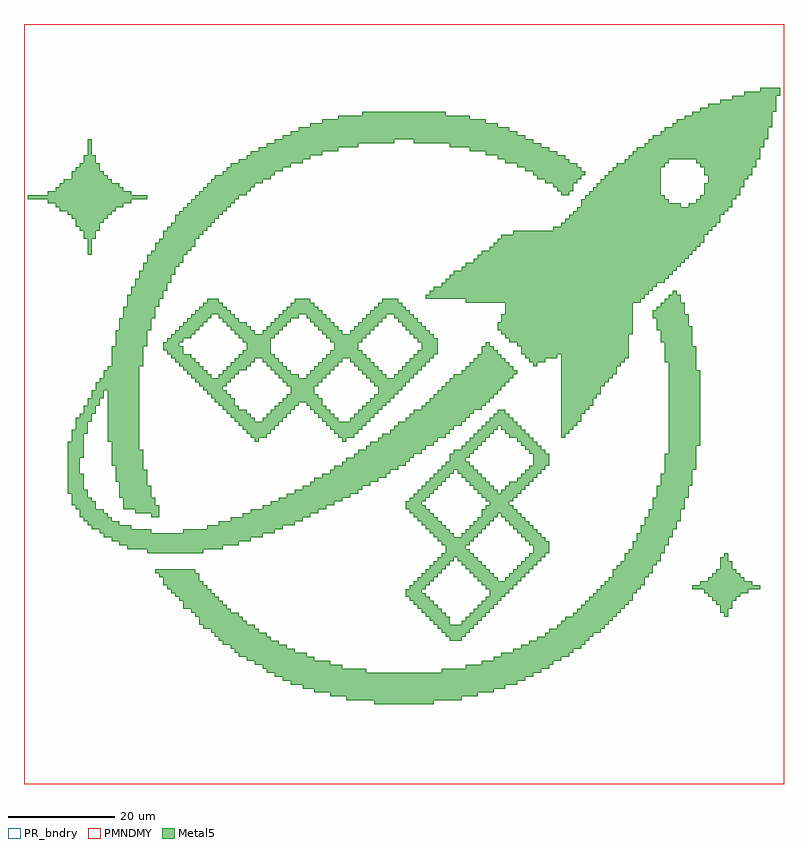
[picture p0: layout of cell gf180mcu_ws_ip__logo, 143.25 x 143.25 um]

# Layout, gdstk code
import gdstk
lib = gdstk.Library(unit=1e-6, precision=1e-09)
def R(c, l, rs):  # rectangles x0, y0, x1, y1
    for r in rs: c.add(gdstk.rectangle(r[:2], r[2:], *l))
def P(c, l, *ps):  # polygons
    for p in ps: c.add(gdstk.Polygon(p, *l))
PR_bndry = (0, 0)
Metal5 = (81, 0)
PMNDMY = (152, 5)

gf180mcu_ws_ip__logo = lib.new_cell('gf180mcu_ws_ip__logo')
R(gf180mcu_ws_ip__logo, PR_bndry, [(0,0,143.25,143.25)])
P(gf180mcu_ws_ip__logo, Metal5, [(132,31.5),(132,32.25),(131.25,32.25),(131.25,33.75),(130.5,33.75),(130.5,34.5),(129.75,34.5),(129.75,35.25),(129,35.25),(129,36),(128.25,36),(128.25,36.75),(126,36.75),(126,37.5),(127.5,37.5),(127.5,38.25),(129,38.25),(129,39),(129.75,39),(129.75,39.75),(130.5,39.75),(130.5,40.5),(131.25,40.5),(131.25,42.75),(132,42.75),(132,43.5),(132.75,43.5),(132.75,42),(133.5,42),(133.5,40.5),(134.25,40.5),(134.25,39.75),(135,39.75),(135,39),(135.75,39),(135.75,38.25),(137.25,38.25),(137.25,37.5),(138.75,37.5),(138.75,36.75),(136.5,36.75),(136.5,36),(135,36),(135,35.25),(134.25,35.25),(134.25,34.5),(133.5,34.5),(133.5,33),(132.75,33),(132.75,31.5)],
  [(80.25,27),(80.25,27.75),(79.5,27.75),(79.5,28.5),(78.75,28.5),(78.75,29.25),(78,29.25),(78,30),(77.25,30),(77.25,30.75),(76.5,30.75),(76.5,31.5),(75.75,31.5),(75.75,32.25),(75,32.25),(75,33),(74.25,33),(74.25,33.75),(73.5,33.75),(73.5,34.5),(72.75,34.5),(72.75,35.25),(72,35.25),(72,36.75),(72.75,36.75),(72.75,37.5),(73.5,37.5),(73.5,38.25),(74.25,38.25),(74.25,39),(75,39),(75,39.75),(75.75,39.75),(75.75,40.5),(76.5,40.5),(76.5,41.25),(77.25,41.25),(77.25,42),(78,42),(78,42.75),(81,42.75),(81,42),(80.25,42),(80.25,41.25),(79.5,41.25),(79.5,40.5),(78.75,40.5),(78.75,39.75),(78,39.75),(78,39),(77.25,39),(77.25,38.25),(76.5,38.25),(76.5,37.5),(75.75,37.5),(75.75,36.75),(75,36.75),(75,36),(75.75,36),(75.75,35.25),(76.5,35.25),(76.5,34.5),(77.25,34.5),(77.25,33.75),(78,33.75),(78,33),(78.75,33),(78.75,32.25),(79.5,32.25),(79.5,31.5),(80.25,31.5),(80.25,30),(82.5,30),(82.5,30.75),(83.25,30.75),(83.25,31.5),(84,31.5),(84,32.25),(84.75,32.25),(84.75,33),(85.5,33),(85.5,33.75),(86.25,33.75),(86.25,34.5),(87,34.5),(87,35.25),(87.75,35.25),(87.75,36.75),(87,36.75),(87,37.5),(86.25,37.5),(86.25,38.25),(85.5,38.25),(85.5,39),(84.75,39),(84.75,39.75),(84,39.75),(84,40.5),(83.25,40.5),(83.25,41.25),(82.5,41.25),(82.5,42),(81.75,42),(81.75,42.75),(78.75,42.75),(78.75,43.5),(79.5,43.5),(79.5,45),(78.75,45),(78.75,45.75),(78,45.75),(78,46.5),(77.25,46.5),(77.25,47.25),(76.5,47.25),(76.5,48),(75.75,48),(75.75,48.75),(75,48.75),(75,49.5),(74.25,49.5),(74.25,50.25),(73.5,50.25),(73.5,51),(72.75,51),(72.75,51.75),(72,51.75),(72,53.25),(72.75,53.25),(72.75,54),(73.5,54),(73.5,54.75),(74.25,54.75),(74.25,55.5),(75,55.5),(75,56.25),(75.75,56.25),(75.75,57),(76.5,57),(76.5,57.75),(77.25,57.75),(77.25,58.5),(78,58.5),(78,59.25),(81,59.25),(81,58.5),(80.25,58.5),(80.25,57.75),(79.5,57.75),(79.5,57),(78.75,57),(78.75,56.25),(78,56.25),(78,55.5),(77.25,55.5),(77.25,54.75),(76.5,54.75),(76.5,54),(75.75,54),(75.75,53.25),(75,53.25),(75,52.5),(75.75,52.5),(75.75,51.75),(76.5,51.75),(76.5,51),(77.25,51),(77.25,50.25),(78,50.25),(78,49.5),(78.75,49.5),(78.75,48.75),(79.5,48.75),(79.5,48),(80.25,48),(80.25,47.25),(81,47.25),(81,46.5),(82.5,46.5),(82.5,47.25),(83.25,47.25),(83.25,48),(84,48),(84,48.75),(84.75,48.75),(84.75,49.5),(85.5,49.5),(85.5,50.25),(86.25,50.25),(86.25,51),(89.25,51),(89.25,50.25),(88.5,50.25),(88.5,49.5),(87.75,49.5),(87.75,48.75),(87,48.75),(87,48),(86.25,48),(86.25,47.25),(85.5,47.25),(85.5,46.5),(84.75,46.5),(84.75,45.75),(84,45.75),(84,45),(83.25,45),(83.25,44.25),(84,44.25),(84,43.5),(84.75,43.5),(84.75,42.75),(85.5,42.75),(85.5,42),(86.25,42),(86.25,41.25),(87,41.25),(87,40.5),(87.75,40.5),(87.75,39.75),(88.5,39.75),(88.5,39),(89.25,39),(89.25,38.25),(90.75,38.25),(90.75,39),(91.5,39),(91.5,39.75),(92.25,39.75),(92.25,40.5),(93,40.5),(93,41.25),(93.75,41.25),(93.75,42),(94.5,42),(94.5,42.75),(95.25,42.75),(95.25,43.5),(96,43.5),(96,45),(95.25,45),(95.25,45.75),(94.5,45.75),(94.5,46.5),(93.75,46.5),(93.75,47.25),(93,47.25),(93,48),(92.25,48),(92.25,48.75),(91.5,48.75),(91.5,49.5),(90.75,49.5),(90.75,50.25),(90,50.25),(90,51),(86.25,51),(86.25,51.75),(87,51.75),(87,52.5),(87.75,52.5),(87.75,53.25),(87,53.25),(87,54),(86.25,54),(86.25,54.75),(85.5,54.75),(85.5,55.5),(84.75,55.5),(84.75,56.25),(84,56.25),(84,57),(83.25,57),(83.25,57.75),(82.5,57.75),(82.5,58.5),(81.75,58.5),(81.75,59.25),(78.75,59.25),(78.75,60),(79.5,60),(79.5,60.75),(80.25,60.75),(80.25,62.25),(81,62.25),(81,63),(82.5,63),(82.5,63.75),(83.25,63.75),(83.25,64.5),(84,64.5),(84,65.25),(84.75,65.25),(84.75,66),(85.5,66),(85.5,66.75),(86.25,66.75),(86.25,67.5),(89.25,67.5),(89.25,66.75),(88.5,66.75),(88.5,66),(87.75,66),(87.75,65.25),(87,65.25),(87,64.5),(86.25,64.5),(86.25,63.75),(85.5,63.75),(85.5,63),(84.75,63),(84.75,62.25),(84,62.25),(84,61.5),(83.25,61.5),(83.25,60.75),(84,60.75),(84,60),(84.75,60),(84.75,59.25),(85.5,59.25),(85.5,58.5),(86.25,58.5),(86.25,57.75),(87,57.75),(87,57),(87.75,57),(87.75,56.25),(88.5,56.25),(88.5,55.5),(89.25,55.5),(89.25,54.75),(90,54.75),(90,55.5),(90.75,55.5),(90.75,56.25),(91.5,56.25),(91.5,57),(93,57),(93,57.75),(93.75,57.75),(93.75,58.5),(94.5,58.5),(94.5,59.25),(95.25,59.25),(95.25,60),(96,60),(96,62.25),(95.25,62.25),(95.25,63),(94.5,63),(94.5,63.75),(93.75,63.75),(93.75,64.5),(93,64.5),(93,65.25),(91.5,65.25),(91.5,66),(90.75,66),(90.75,66.75),(90,66.75),(90,67.5),(87,67.5),(87,68.25),(87.75,68.25),(87.75,69),(88.5,69),(88.5,69.75),(89.25,69.75),(89.25,70.5),(90.75,70.5),(90.75,69.75),(91.5,69.75),(91.5,69),(92.25,69),(92.25,68.25),(93,68.25),(93,67.5),(93.75,67.5),(93.75,66.75),(94.5,66.75),(94.5,66),(95.25,66),(95.25,65.25),(96,65.25),(96,64.5),(96.75,64.5),(96.75,63.75),(97.5,63.75),(97.5,63),(98.25,63),(98.25,62.25),(99,62.25),(99,60),(98.25,60),(98.25,59.25),(97.5,59.25),(97.5,58.5),(96.75,58.5),(96.75,57.75),(96,57.75),(96,57),(95.25,57),(95.25,56.25),(94.5,56.25),(94.5,55.5),(93.75,55.5),(93.75,54.75),(93,54.75),(93,54),(92.25,54),(92.25,53.25),(91.5,53.25),(91.5,52.5),(92.25,52.5),(92.25,51.75),(93,51.75),(93,51),(93.75,51),(93.75,50.25),(94.5,50.25),(94.5,49.5),(95.25,49.5),(95.25,48.75),(96,48.75),(96,48),(96.75,48),(96.75,47.25),(97.5,47.25),(97.5,46.5),(98.25,46.5),(98.25,45.75),(99,45.75),(99,43.5),(98.25,43.5),(98.25,42.75),(97.5,42.75),(97.5,42),(96.75,42),(96.75,41.25),(96,41.25),(96,40.5),(95.25,40.5),(95.25,39.75),(94.5,39.75),(94.5,39),(93.75,39),(93.75,38.25),(93,38.25),(93,37.5),(92.25,37.5),(92.25,36.75),(91.5,36.75),(91.5,36),(90.75,36),(90.75,35.25),(90,35.25),(90,34.5),(89.25,34.5),(89.25,33.75),(88.5,33.75),(88.5,33),(87.75,33),(87.75,32.25),(87,32.25),(87,31.5),(86.25,31.5),(86.25,30.75),(85.5,30.75),(85.5,30),(84.75,30),(84.75,29.25),(84,29.25),(84,28.5),(83.25,28.5),(83.25,27.75),(82.5,27.75),(82.5,27)],
  [(43.5,64.5),(43.5,65.25),(42.75,65.25),(42.75,66),(42,66),(42,66.75),(41.25,66.75),(41.25,67.5),(40.5,67.5),(40.5,68.25),(39.75,68.25),(39.75,69),(39,69),(39,69.75),(38.25,69.75),(38.25,70.5),(37.5,70.5),(37.5,71.25),(36.75,71.25),(36.75,72),(36,72),(36,72.75),(35.25,72.75),(35.25,73.5),(34.5,73.5),(34.5,74.25),(33.75,74.25),(33.75,75),(33,75),(33,75.75),(32.25,75.75),(32.25,76.5),(31.5,76.5),(31.5,77.25),(30.75,77.25),(30.75,78),(30,78),(30,78.75),(29.25,78.75),(29.25,79.5),(28.5,79.5),(28.5,80.25),(27.75,80.25),(27.75,81),(27,81),(27,81.75),(26.25,81.75),(26.25,83.25),(27,83.25),(27,84),(27.75,84),(27.75,84.75),(28.5,84.75),(28.5,85.5),(29.25,85.5),(29.25,86.25),(30,86.25),(30,87),(30.75,87),(30.75,87.75),(31.5,87.75),(31.5,88.5),(35.25,88.5),(35.25,87.75),(34.5,87.75),(34.5,87),(33.75,87),(33.75,86.25),(33,86.25),(33,85.5),(32.25,85.5),(32.25,84.75),(31.5,84.75),(31.5,84),(30,84),(30,83.25),(29.25,83.25),(29.25,82.5),(30,82.5),(30,81),(31.5,81),(31.5,80.25),(32.25,80.25),(32.25,79.5),(33,79.5),(33,78.75),(33.75,78.75),(33.75,78),(34.5,78),(34.5,77.25),(35.25,77.25),(35.25,76.5),(36.75,76.5),(36.75,77.25),(37.5,77.25),(37.5,78),(38.25,78),(38.25,78.75),(39,78.75),(39,79.5),(39.75,79.5),(39.75,80.25),(43.5,80.25),(43.5,79.5),(42.75,79.5),(42.75,78.75),(42,78.75),(42,78),(40.5,78),(40.5,77.25),(39.75,77.25),(39.75,76.5),(39,76.5),(39,75.75),(38.25,75.75),(38.25,75),(37.5,75),(37.5,74.25),(38.25,74.25),(38.25,73.5),(39,73.5),(39,72.75),(39.75,72.75),(39.75,71.25),(40.5,71.25),(40.5,70.5),(42,70.5),(42,69.75),(42.75,69.75),(42.75,69),(43.5,69),(43.5,68.25),(45,68.25),(45,69),(45.75,69),(45.75,69.75),(46.5,69.75),(46.5,70.5),(47.25,70.5),(47.25,71.25),(48,71.25),(48,72),(48.75,72),(48.75,72.75),(49.5,72.75),(49.5,73.5),(50.25,73.5),(50.25,75),(49.5,75),(49.5,75.75),(48.75,75.75),(48.75,76.5),(48,76.5),(48,77.25),(47.25,77.25),(47.25,78),(46.5,78),(46.5,78.75),(45.75,78.75),(45.75,79.5),(45,79.5),(45,80.25),(40.5,80.25),(40.5,81),(41.25,81),(41.25,81.75),(42,81.75),(42,83.25),(41.25,83.25),(41.25,84),(40.5,84),(40.5,84.75),(39.75,84.75),(39.75,85.5),(39,85.5),(39,86.25),(38.25,86.25),(38.25,87),(37.5,87),(37.5,87.75),(36.75,87.75),(36.75,88.5),(32.25,88.5),(32.25,89.25),(33,89.25),(33,90),(33.75,90),(33.75,90.75),(34.5,90.75),(34.5,91.5),(36.75,91.5),(36.75,90.75),(37.5,90.75),(37.5,90),(38.25,90),(38.25,89.25),(39,89.25),(39,88.5),(39.75,88.5),(39.75,87.75),(40.5,87.75),(40.5,87),(42,87),(42,86.25),(42.75,86.25),(42.75,85.5),(43.5,85.5),(43.5,84.75),(45,84.75),(45,85.5),(45.75,85.5),(45.75,86.25),(46.5,86.25),(46.5,87),(47.25,87),(47.25,87.75),(48,87.75),(48,88.5),(51.75,88.5),(51.75,87.75),(50.25,87.75),(50.25,87),(49.5,87),(49.5,86.25),(48.75,86.25),(48.75,85.5),(48,85.5),(48,84.75),(47.25,84.75),(47.25,84),(46.5,84),(46.5,81),(47.25,81),(47.25,80.25),(48,80.25),(48,79.5),(48.75,79.5),(48.75,78.75),(49.5,78.75),(49.5,78),(50.25,78),(50.25,77.25),(51.75,77.25),(51.75,76.5),(53.25,76.5),(53.25,77.25),(54,77.25),(54,78),(54.75,78),(54.75,78.75),(55.5,78.75),(55.5,79.5),(56.25,79.5),(56.25,80.25),(60,80.25),(60,79.5),(59.25,79.5),(59.25,78.75),(58.5,78.75),(58.5,78),(57.75,78),(57.75,77.25),(57,77.25),(57,76.5),(56.25,76.5),(56.25,75.75),(55.5,75.75),(55.5,75),(54.75,75),(54.75,73.5),(55.5,73.5),(55.5,72.75),(56.25,72.75),(56.25,71.25),(57,71.25),(57,70.5),(57.75,70.5),(57.75,69.75),(58.5,69.75),(58.5,69),(59.25,69),(59.25,68.25),(61.5,68.25),(61.5,69),(62.25,69),(62.25,69.75),(63,69.75),(63,70.5),(63.75,70.5),(63.75,71.25),(64.5,71.25),(64.5,72),(65.25,72),(65.25,72.75),(66,72.75),(66,73.5),(66.75,73.5),(66.75,75),(66,75),(66,75.75),(65.25,75.75),(65.25,76.5),(64.5,76.5),(64.5,77.25),(63.75,77.25),(63.75,78),(63,78),(63,78.75),(62.25,78.75),(62.25,79.5),(61.5,79.5),(61.5,80.25),(57,80.25),(57,81),(57.75,81),(57.75,81.75),(58.5,81.75),(58.5,83.25),(57.75,83.25),(57.75,84),(57,84),(57,84.75),(56.25,84.75),(56.25,85.5),(55.5,85.5),(55.5,86.25),(54.75,86.25),(54.75,87),(54,87),(54,87.75),(53.25,87.75),(53.25,88.5),(48.75,88.5),(48.75,89.25),(49.5,89.25),(49.5,90),(50.25,90),(50.25,90.75),(51,90.75),(51,91.5),(54,91.5),(54,90.75),(54.75,90.75),(54.75,90),(55.5,90),(55.5,89.25),(56.25,89.25),(56.25,88.5),(57,88.5),(57,87.75),(57.75,87.75),(57.75,87),(58.5,87),(58.5,86.25),(59.25,86.25),(59.25,85.5),(60,85.5),(60,84.75),(61.5,84.75),(61.5,85.5),(62.25,85.5),(62.25,86.25),(63,86.25),(63,87),(63.75,87),(63.75,87.75),(64.5,87.75),(64.5,88.5),(68.25,88.5),(68.25,87.75),(67.5,87.75),(67.5,87),(66.75,87),(66.75,86.25),(66,86.25),(66,85.5),(65.25,85.5),(65.25,84.75),(64.5,84.75),(64.5,84),(63.75,84),(63.75,83.25),(63,83.25),(63,81.75),(63.75,81.75),(63.75,81),(64.5,81),(64.5,80.25),(65.25,80.25),(65.25,79.5),(66,79.5),(66,78.75),(66.75,78.75),(66.75,78),(67.5,78),(67.5,77.25),(68.25,77.25),(68.25,76.5),(69.75,76.5),(69.75,77.25),(70.5,77.25),(70.5,78),(71.25,78),(71.25,78.75),(72,78.75),(72,79.5),(72.75,79.5),(72.75,80.25),(73.5,80.25),(73.5,81),(74.25,81),(74.25,81.75),(75,81.75),(75,83.25),(74.25,83.25),(74.25,84),(73.5,84),(73.5,84.75),(72.75,84.75),(72.75,85.5),(72,85.5),(72,86.25),(71.25,86.25),(71.25,87),(70.5,87),(70.5,87.75),(69.75,87.75),(69.75,88.5),(65.25,88.5),(65.25,89.25),(66,89.25),(66,90),(66.75,90),(66.75,90.75),(67.5,90.75),(67.5,91.5),(70.5,91.5),(70.5,90.75),(71.25,90.75),(71.25,90),(72,90),(72,89.25),(72.75,89.25),(72.75,88.5),(73.5,88.5),(73.5,87.75),(74.25,87.75),(74.25,87),(75,87),(75,86.25),(75.75,86.25),(75.75,85.5),(76.5,85.5),(76.5,84.75),(77.25,84.75),(77.25,84),(78,84),(78,81),(77.25,81),(77.25,80.25),(76.5,80.25),(76.5,79.5),(75.75,79.5),(75.75,78.75),(75,78.75),(75,78),(74.25,78),(74.25,77.25),(73.5,77.25),(73.5,76.5),(72.75,76.5),(72.75,75.75),(72,75.75),(72,75),(71.25,75),(71.25,74.25),(70.5,74.25),(70.5,73.5),(69.75,73.5),(69.75,72.75),(69,72.75),(69,72),(68.25,72),(68.25,71.25),(67.5,71.25),(67.5,70.5),(66.75,70.5),(66.75,69.75),(66,69.75),(66,69),(65.25,69),(65.25,68.25),(64.5,68.25),(64.5,67.5),(63.75,67.5),(63.75,66.75),(63,66.75),(63,66),(62.25,66),(62.25,65.25),(60.75,65.25),(60.75,64.5),(60,64.5),(60,65.25),(59.25,65.25),(59.25,66),(58.5,66),(58.5,66.75),(57.75,66.75),(57.75,67.5),(57,67.5),(57,68.25),(56.25,68.25),(56.25,69),(55.5,69),(55.5,69.75),(54.75,69.75),(54.75,70.5),(54,70.5),(54,71.25),(53.25,71.25),(53.25,72),(51.75,72),(51.75,71.25),(51,71.25),(51,70.5),(50.25,70.5),(50.25,69.75),(49.5,69.75),(49.5,69),(48.75,69),(48.75,68.25),(48,68.25),(48,67.5),(47.25,67.5),(47.25,66.75),(46.5,66.75),(46.5,66),(45.75,66),(45.75,65.25),(44.25,65.25),(44.25,64.5)],
  [(66,15),(66,15.75),(60.75,15.75),(60.75,16.5),(57.75,16.5),(57.75,17.25),(54.75,17.25),(54.75,18),(52.5,18),(52.5,18.75),(50.25,18.75),(50.25,19.5),(48.75,19.5),(48.75,20.25),(47.25,20.25),(47.25,21),(45.75,21),(45.75,21.75),(45,21.75),(45,22.5),(43.5,22.5),(43.5,23.25),(42,23.25),(42,24),(40.5,24),(40.5,24.75),(39.75,24.75),(39.75,25.5),(39,25.5),(39,26.25),(37.5,26.25),(37.5,27),(36.75,27),(36.75,27.75),(36,27.75),(36,28.5),(35.25,28.5),(35.25,29.25),(33.75,29.25),(33.75,30),(33,30),(33,31.5),(32.25,31.5),(32.25,32.25),(31.5,32.25),(31.5,33),(30,33),(30,34.5),(29.25,34.5),(29.25,35.25),(28.5,35.25),(28.5,36),(27.75,36),(27.75,36.75),(27,36.75),(27,37.5),(26.25,37.5),(26.25,39),(25.5,39),(25.5,39.75),(24.75,39.75),(24.75,40.5),(32.25,40.5),(32.25,39.75),(33,39.75),(33,38.25),(33.75,38.25),(33.75,37.5),(34.5,37.5),(34.5,36.75),(35.25,36.75),(35.25,36),(36,36),(36,35.25),(36.75,35.25),(36.75,34.5),(37.5,34.5),(37.5,33.75),(38.25,33.75),(38.25,33),(39,33),(39,32.25),(40.5,32.25),(40.5,31.5),(41.25,31.5),(41.25,30.75),(42,30.75),(42,30),(43.5,30),(43.5,29.25),(44.25,29.25),(44.25,28.5),(45.75,28.5),(45.75,27.75),(46.5,27.75),(46.5,27),(48,27),(48,26.25),(49.5,26.25),(49.5,25.5),(51,25.5),(51,24.75),(53.25,24.75),(53.25,24),(54.75,24),(54.75,23.25),(57.75,23.25),(57.75,22.5),(60,22.5),(60,21.75),(64.5,21.75),(64.5,21),(78.75,21),(78.75,21.75),(83.25,21.75),(83.25,22.5),(86.25,22.5),(86.25,23.25),(88.5,23.25),(88.5,24),(90,24),(90,24.75),(92.25,24.75),(92.25,25.5),(93.75,25.5),(93.75,26.25),(95.25,26.25),(95.25,27),(96.75,27),(96.75,27.75),(98.25,27.75),(98.25,28.5),(99,28.5),(99,29.25),(100.5,29.25),(100.5,30),(101.25,30),(101.25,30.75),(102,30.75),(102,31.5),(103.5,31.5),(103.5,32.25),(104.25,32.25),(104.25,33),(105,33),(105,33.75),(105.75,33.75),(105.75,34.5),(106.5,34.5),(106.5,35.25),(107.25,35.25),(107.25,36),(108,36),(108,36.75),(108.75,36.75),(108.75,37.5),(109.5,37.5),(109.5,38.25),(110.25,38.25),(110.25,39),(111,39),(111,40.5),(111.75,40.5),(111.75,41.25),(112.5,41.25),(112.5,42),(113.25,42),(113.25,43.5),(114,43.5),(114,44.25),(114.75,44.25),(114.75,45.75),(115.5,45.75),(115.5,47.25),(116.25,47.25),(116.25,48.75),(117,48.75),(117,50.25),(117.75,50.25),(117.75,51.75),(118.5,51.75),(118.5,54),(119.25,54),(119.25,56.25),(120,56.25),(120,58.5),(120.75,58.5),(120.75,62.25),(121.5,62.25),(121.5,79.5),(120.75,79.5),(120.75,83.25),(120,83.25),(120,85.5),(119.25,85.5),(119.25,87.75),(118.5,87.75),(118.5,89.25),(119.25,89.25),(119.25,90),(120,90),(120,90.75),(120.75,90.75),(120.75,91.5),(121.5,91.5),(121.5,92.25),(122.25,92.25),(122.25,93),(123,93),(123,92.25),(123.75,92.25),(123.75,90.75),(124.5,90.75),(124.5,88.5),(125.25,88.5),(125.25,86.25),(126,86.25),(126,82.5),(126.75,82.5),(126.75,78),(127.5,78),(127.5,63.75),(126.75,63.75),(126.75,59.25),(126,59.25),(126,56.25),(125.25,56.25),(125.25,54),(124.5,54),(124.5,51.75),(123.75,51.75),(123.75,49.5),(123,49.5),(123,48),(122.25,48),(122.25,46.5),(121.5,46.5),(121.5,45),(120.75,45),(120.75,43.5),(120,43.5),(120,42),(119.25,42),(119.25,41.25),(118.5,41.25),(118.5,39.75),(117.75,39.75),(117.75,39),(117,39),(117,37.5),(116.25,37.5),(116.25,36.75),(115.5,36.75),(115.5,36),(114.75,36),(114.75,34.5),(114,34.5),(114,33.75),(113.25,33.75),(113.25,33),(112.5,33),(112.5,32.25),(111.75,32.25),(111.75,31.5),(111,31.5),(111,30.75),(110.25,30.75),(110.25,30),(109.5,30),(109.5,29.25),(108.75,29.25),(108.75,28.5),(107.25,28.5),(107.25,27.75),(106.5,27.75),(106.5,27),(105.75,27),(105.75,26.25),(105,26.25),(105,25.5),(103.5,25.5),(103.5,24.75),(102.75,24.75),(102.75,24),(101.25,24),(101.25,23.25),(99.75,23.25),(99.75,22.5),(99,22.5),(99,21.75),(97.5,21.75),(97.5,21),(96,21),(96,20.25),(94.5,20.25),(94.5,19.5),(93,19.5),(93,18.75),(90.75,18.75),(90.75,18),(88.5,18),(88.5,17.25),(85.5,17.25),(85.5,16.5),(82.5,16.5),(82.5,15.75),(77.25,15.75),(77.25,15)],
  [(12,99.75),(12,102.75),(11.25,102.75),(11.25,104.25),(10.5,104.25),(10.5,105),(9.75,105),(9.75,106.5),(9,106.5),(9,107.25),(8.25,107.25),(8.25,108),(6.75,108),(6.75,108.75),(6,108.75),(6,109.5),(4.5,109.5),(4.5,110.25),(0.75,110.25),(0.75,111),(4.5,111),(4.5,111.75),(6,111.75),(6,112.5),(6.75,112.5),(6.75,113.25),(7.5,113.25),(7.5,114),(9,114),(9,115.5),(9.75,115.5),(9.75,116.25),(10.5,116.25),(10.5,117),(11.25,117),(11.25,118.5),(12,118.5),(12,121.5),(12.75,121.5),(12.75,118.5),(13.5,118.5),(13.5,117),(14.25,117),(14.25,115.5),(15,115.5),(15,114.75),(15.75,114.75),(15.75,114),(16.5,114),(16.5,113.25),(18,113.25),(18,112.5),(18.75,112.5),(18.75,111.75),(20.25,111.75),(20.25,111),(23.25,111),(23.25,110.25),(20.25,110.25),(20.25,109.5),(18.75,109.5),(18.75,108.75),(17.25,108.75),(17.25,108),(16.5,108),(16.5,107.25),(15.75,107.25),(15.75,106.5),(15,106.5),(15,105.75),(14.25,105.75),(14.25,104.25),(13.5,104.25),(13.5,102.75),(12.75,102.75),(12.75,99.75)],
  [(23.25,43.5),(23.25,44.25),(19.5,44.25),(19.5,45),(18,45),(18,45.75),(16.5,45.75),(16.5,46.5),(15,46.5),(15,47.25),(14.25,47.25),(14.25,48),(12.75,48),(12.75,48.75),(12,48.75),(12,49.5),(11.25,49.5),(11.25,50.25),(10.5,50.25),(10.5,51.75),(9.75,51.75),(9.75,52.5),(9,52.5),(9,54.75),(8.25,54.75),(8.25,64.5),(9,64.5),(9,66.75),(9.75,66.75),(9.75,69),(10.5,69),(10.5,69.75),(11.25,69.75),(11.25,71.25),(12,71.25),(12,72.75),(12.75,72.75),(12.75,74.25),(13.5,74.25),(13.5,75.75),(14.25,75.75),(14.25,76.5),(15,76.5),(15,78),(15.75,78),(15.75,78.75),(16.5,78.75),(16.5,82.5),(17.25,82.5),(17.25,85.5),(18,85.5),(18,87.75),(18.75,87.75),(18.75,90),(19.5,90),(19.5,92.25),(20.25,92.25),(20.25,93.75),(21,93.75),(21,95.25),(21.75,95.25),(21.75,96.75),(22.5,96.75),(22.5,98.25),(23.25,98.25),(23.25,99.75),(24,99.75),(24,100.5),(24.75,100.5),(24.75,102),(25.5,102),(25.5,102.75),(26.25,102.75),(26.25,104.25),(27,104.25),(27,105),(27.75,105),(27.75,105.75),(28.5,105.75),(28.5,107.25),(29.25,107.25),(29.25,108),(30,108),(30,108.75),(30.75,108.75),(30.75,109.5),(31.5,109.5),(31.5,110.25),(32.25,110.25),(32.25,111),(33,111),(33,111.75),(33.75,111.75),(33.75,112.5),(34.5,112.5),(34.5,113.25),(35.25,113.25),(35.25,114),(36,114),(36,114.75),(37.5,114.75),(37.5,115.5),(38.25,115.5),(38.25,116.25),(39,116.25),(39,117),(40.5,117),(40.5,117.75),(42,117.75),(42,118.5),(42.75,118.5),(42.75,119.25),(44.25,119.25),(44.25,120),(45.75,120),(45.75,120.75),(47.25,120.75),(47.25,121.5),(48.75,121.5),(48.75,122.25),(50.25,122.25),(50.25,123),(51.75,123),(51.75,123.75),(54,123.75),(54,124.5),(56.25,124.5),(56.25,125.25),(59.25,125.25),(59.25,126),(63.75,126),(63.75,126.75),(79.5,126.75),(79.5,126),(84,126),(84,125.25),(87,125.25),(87,124.5),(89.25,124.5),(89.25,123.75),(91.5,123.75),(91.5,123),(93,123),(93,122.25),(94.5,122.25),(94.5,121.5),(96,121.5),(96,120.75),(97.5,120.75),(97.5,120),(99,120),(99,119.25),(100.5,119.25),(100.5,118.5),(102,118.5),(102,117.75),(102.75,117.75),(102.75,117),(104.25,117),(104.25,116.25),(105,116.25),(105,115.5),(105.75,115.5),(105.75,114.75),(105,114.75),(105,114),(104.25,114),(104.25,113.25),(103.5,113.25),(103.5,111.75),(102.75,111.75),(102.75,111),(101.25,111),(101.25,111.75),(100.5,111.75),(100.5,112.5),(99.75,112.5),(99.75,113.25),(98.25,113.25),(98.25,114),(96.75,114),(96.75,114.75),(96,114.75),(96,115.5),(94.5,115.5),(94.5,116.25),(93,116.25),(93,117),(90.75,117),(90.75,117.75),(89.25,117.75),(89.25,118.5),(87,118.5),(87,119.25),(84,119.25),(84,120),(80.25,120),(80.25,120.75),(73.5,120.75),(73.5,121.5),(69.75,121.5),(69.75,120.75),(63,120.75),(63,120),(59.25,120),(59.25,119.25),(56.25,119.25),(56.25,118.5),(54,118.5),(54,117.75),(52.5,117.75),(52.5,117),(50.25,117),(50.25,116.25),(48.75,116.25),(48.75,115.5),(47.25,115.5),(47.25,114.75),(46.5,114.75),(46.5,114),(45,114),(45,113.25),(43.5,113.25),(43.5,112.5),(42.75,112.5),(42.75,111.75),(42,111.75),(42,111),(40.5,111),(40.5,110.25),(39.75,110.25),(39.75,109.5),(39,109.5),(39,108.75),(38.25,108.75),(38.25,108),(37.5,108),(37.5,107.25),(36.75,107.25),(36.75,106.5),(36,106.5),(36,105.75),(35.25,105.75),(35.25,105),(34.5,105),(34.5,104.25),(33.75,104.25),(33.75,103.5),(33,103.5),(33,102.75),(32.25,102.75),(32.25,101.25),(31.5,101.25),(31.5,100.5),(30.75,100.5),(30.75,99.75),(30,99.75),(30,98.25),(29.25,98.25),(29.25,97.5),(28.5,97.5),(28.5,96),(27.75,96),(27.75,94.5),(27,94.5),(27,93),(26.25,93),(26.25,91.5),(25.5,91.5),(25.5,90),(24.75,90),(24.75,87.75),(24,87.75),(24,85.5),(23.25,85.5),(23.25,82.5),(22.5,82.5),(22.5,78.75),(21.75,78.75),(21.75,63),(22.5,63),(22.5,59.25),(23.25,59.25),(23.25,56.25),(24,56.25),(24,54),(24.75,54),(24.75,52.5),(25.5,52.5),(25.5,50.25),(24,50.25),(24,51),(21,51),(21,51.75),(18.75,51.75),(18.75,54),(18,54),(18,57),(17.25,57),(17.25,60),(16.5,60),(16.5,64.5),(15.75,64.5),(15.75,74.25),(15,74.25),(15,72.75),(14.25,72.75),(14.25,71.25),(13.5,71.25),(13.5,69.75),(12.75,69.75),(12.75,68.25),(12,68.25),(12,66),(11.25,66),(11.25,61.5),(10.5,61.5),(10.5,58.5),(11.25,58.5),(11.25,55.5),(12,55.5),(12,54),(12.75,54),(12.75,53.25),(13.5,53.25),(13.5,51.75),(15,51.75),(15,51),(15.75,51),(15.75,50.25),(16.5,50.25),(16.5,49.5),(18,49.5),(18,48.75),(20.25,48.75),(20.25,48),(24,48),(24,47.25),(30,47.25),(30,48),(34.5,48),(34.5,48.75),(36.75,48.75),(36.75,49.5),(39,49.5),(39,50.25),(41.25,50.25),(41.25,51),(42.75,51),(42.75,51.75),(45,51.75),(45,52.5),(46.5,52.5),(46.5,53.25),(48,53.25),(48,54),(49.5,54),(49.5,54.75),(51,54.75),(51,55.5),(52.5,55.5),(52.5,56.25),(54,56.25),(54,57),(54.75,57),(54.75,57.75),(56.25,57.75),(56.25,58.5),(57.75,58.5),(57.75,59.25),(58.5,59.25),(58.5,60),(60,60),(60,60.75),(60.75,60.75),(60.75,61.5),(62.25,61.5),(62.25,62.25),(63,62.25),(63,63),(64.5,63),(64.5,63.75),(65.25,63.75),(65.25,64.5),(66.75,64.5),(66.75,65.25),(67.5,65.25),(67.5,66),(69,66),(69,66.75),(69.75,66.75),(69.75,67.5),(70.5,67.5),(70.5,68.25),(72,68.25),(72,69),(72.75,69),(72.75,69.75),(73.5,69.75),(73.5,70.5),(75,70.5),(75,71.25),(75.75,71.25),(75.75,72),(76.5,72),(76.5,72.75),(77.25,72.75),(77.25,73.5),(78,73.5),(78,74.25),(78.75,74.25),(78.75,75),(79.5,75),(79.5,75.75),(80.25,75.75),(80.25,76.5),(81,76.5),(81,77.25),(82.5,77.25),(82.5,78),(83.25,78),(83.25,78.75),(84,78.75),(84,79.5),(84.75,79.5),(84.75,80.25),(85.5,80.25),(85.5,81),(86.25,81),(86.25,82.5),(87,82.5),(87,83.25),(87.75,83.25),(87.75,82.5),(88.5,82.5),(88.5,81.75),(89.25,81.75),(89.25,81),(90,81),(90,80.25),(90.75,80.25),(90.75,79.5),(91.5,79.5),(91.5,78.75),(92.25,78.75),(92.25,78),(93,78),(93,77.25),(92.25,77.25),(92.25,76.5),(91.5,76.5),(91.5,75.75),(90.75,75.75),(90.75,75),(90,75),(90,74.25),(89.25,74.25),(89.25,73.5),(88.5,73.5),(88.5,72.75),(87.75,72.75),(87.75,72),(87,72),(87,71.25),(86.25,71.25),(86.25,70.5),(84.75,70.5),(84.75,69.75),(84,69.75),(84,69),(83.25,69),(83.25,68.25),(82.5,68.25),(82.5,67.5),(81,67.5),(81,66.75),(80.25,66.75),(80.25,66),(79.5,66),(79.5,65.25),(78,65.25),(78,64.5),(77.25,64.5),(77.25,63.75),(75.75,63.75),(75.75,63),(75,63),(75,62.25),(73.5,62.25),(73.5,61.5),(72.75,61.5),(72.75,60.75),(72,60.75),(72,60),(70.5,60),(70.5,59.25),(69,59.25),(69,58.5),(68.25,58.5),(68.25,57.75),(66.75,57.75),(66.75,57),(65.25,57),(65.25,56.25),(63.75,56.25),(63.75,55.5),(63,55.5),(63,54.75),(61.5,54.75),(61.5,54),(60,54),(60,53.25),(58.5,53.25),(58.5,52.5),(57,52.5),(57,51.75),(55.5,51.75),(55.5,51),(54,51),(54,50.25),(52.5,50.25),(52.5,49.5),(51,49.5),(51,48.75),(48.75,48.75),(48.75,48),(47.25,48),(47.25,47.25),(45,47.25),(45,46.5),(42.75,46.5),(42.75,45.75),(40.5,45.75),(40.5,45),(37.5,45),(37.5,44.25),(33.75,44.25),(33.75,43.5)],
  [(101.25,65.25),(101.25,81),(100.5,81),(100.5,80.25),(98.25,80.25),(98.25,79.5),(96.75,79.5),(96.75,78.75),(96,78.75),(96,79.5),(95.25,79.5),(95.25,80.25),(94.5,80.25),(94.5,81),(93.75,81),(93.75,82.5),(93,82.5),(93,83.25),(91.5,83.25),(91.5,84),(90.75,84),(90.75,84.75),(90,84.75),(90,85.5),(89.25,85.5),(89.25,87),(90,87),(90,88.5),(90.75,88.5),(90.75,90.75),(83.25,90.75),(83.25,91.5),(75.75,91.5),(75.75,92.25),(76.5,92.25),(76.5,93),(77.25,93),(77.25,93.75),(78.75,93.75),(78.75,94.5),(79.5,94.5),(79.5,95.25),(80.25,95.25),(80.25,96),(81,96),(81,96.75),(82.5,96.75),(82.5,97.5),(83.25,97.5),(83.25,98.25),(84.75,98.25),(84.75,99),(85.5,99),(85.5,99.75),(86.25,99.75),(86.25,100.5),(87.75,100.5),(87.75,101.25),(88.5,101.25),(88.5,102),(89.25,102),(89.25,102.75),(90,102.75),(90,103.5),(92.25,103.5),(92.25,104.25),(99.75,104.25),(99.75,105),(101.25,105),(101.25,105.75),(102,105.75),(102,106.5),(102.75,106.5),(102.75,107.25),(103.5,107.25),(103.5,108),(104.25,108),(104.25,108.75),(105,108.75),(105,110.25),(105.75,110.25),(105.75,111),(106.5,111),(106.5,111.75),(107.25,111.75),(107.25,112.5),(108,112.5),(108,113.25),(108.75,113.25),(108.75,114),(109.5,114),(109.5,114.75),(110.25,114.75),(110.25,115.5),(111,115.5),(111,116.25),(111.75,116.25),(111.75,117),(113.25,117),(113.25,117.75),(121.5,117.75),(121.5,117),(120.75,117),(120.75,116.25),(120,116.25),(120,111),(120.75,111),(120.75,110.25),(121.5,110.25),(121.5,109.5),(123.75,109.5),(123.75,108.75),(125.25,108.75),(125.25,109.5),(126.75,109.5),(126.75,110.25),(127.5,110.25),(127.5,111),(128.25,111),(128.25,113.25),(129,113.25),(129,114.75),(128.25,114.75),(128.25,116.25),(127.5,116.25),(127.5,117),(126.75,117),(126.75,117.75),(114,117.75),(114,118.5),(114.75,118.5),(114.75,119.25),(115.5,119.25),(115.5,120),(117,120),(117,120.75),(117.75,120.75),(117.75,121.5),(118.5,121.5),(118.5,122.25),(120,122.25),(120,123),(120.75,123),(120.75,123.75),(122.25,123.75),(122.25,124.5),(123,124.5),(123,125.25),(124.5,125.25),(124.5,126),(126,126),(126,126.75),(127.5,126.75),(127.5,127.5),(129,127.5),(129,128.25),(131.25,128.25),(131.25,129),(133.5,129),(133.5,129.75),(135.75,129.75),(135.75,130.5),(138.75,130.5),(138.75,131.25),(142.5,131.25),(142.5,129.75),(141.75,129.75),(141.75,126.75),(141,126.75),(141,123.75),(140.25,123.75),(140.25,121.5),(139.5,121.5),(139.5,120),(138.75,120),(138.75,117.75),(138,117.75),(138,116.25),(137.25,116.25),(137.25,114.75),(136.5,114.75),(136.5,114),(135.75,114),(135.75,112.5),(135,112.5),(135,111),(134.25,111),(134.25,110.25),(133.5,110.25),(133.5,108.75),(132.75,108.75),(132.75,108),(132,108),(132,107.25),(131.25,107.25),(131.25,105.75),(130.5,105.75),(130.5,105),(129.75,105),(129.75,104.25),(129,104.25),(129,103.5),(128.25,103.5),(128.25,102),(127.5,102),(127.5,101.25),(126.75,101.25),(126.75,100.5),(126,100.5),(126,99.75),(125.25,99.75),(125.25,99),(124.5,99),(124.5,98.25),(123.75,98.25),(123.75,97.5),(123,97.5),(123,96.75),(122.25,96.75),(122.25,96),(121.5,96),(121.5,95.25),(120.75,95.25),(120.75,94.5),(119.25,94.5),(119.25,93.75),(118.5,93.75),(118.5,93),(117.75,93),(117.75,92.25),(117,92.25),(117,91.5),(116.25,91.5),(116.25,90.75),(114.75,90.75),(114.75,84.75),(114,84.75),(114,80.25),(113.25,80.25),(113.25,79.5),(112.5,79.5),(112.5,78.75),(111.75,78.75),(111.75,77.25),(111,77.25),(111,76.5),(110.25,76.5),(110.25,75.75),(109.5,75.75),(109.5,75),(108.75,75),(108.75,73.5),(108,73.5),(108,72.75),(107.25,72.75),(107.25,71.25),(106.5,71.25),(106.5,70.5),(105.75,70.5),(105.75,69.75),(105,69.75),(105,68.25),(104.25,68.25),(104.25,67.5),(103.5,67.5),(103.5,66.75),(102.75,66.75),(102.75,66),(102,66),(102,65.25)])
R(gf180mcu_ws_ip__logo, PMNDMY, [(0,0,143.25,143.25)])

lib.write_gds('gf180mcu_ws_ip__logo.gds')
